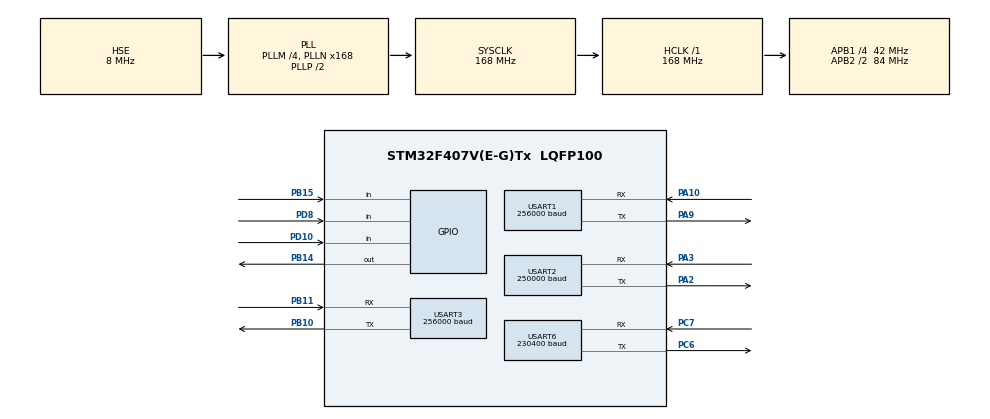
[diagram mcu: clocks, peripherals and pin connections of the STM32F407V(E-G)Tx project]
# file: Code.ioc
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Mcu.Family=STM32F4
Mcu.Name=STM32F407V(E-G)Tx
Mcu.Package=LQFP100
NVIC.PriorityGroup=NVIC_PRIORITYGROUP_2
NVIC.USART1_IRQn=true\:2\:2\:true\:false\:true\:true\:true\:true
NVIC.USART3_IRQn=true\:0\:0\:false\:false\:true\:true\:true\:true
NVIC.USART6_IRQn=true\:1\:1\:true\:false\:true\:true\:true\:true
PA10.Mode=Asynchronous
PA10.Signal=USART1_RX
PA13.Mode=Serial_Wire
PA13.Signal=SYS_JTMS-SWDIO
PA14.Mode=Serial_Wire
PA14.Signal=SYS_JTCK-SWCLK
PA2.Mode=Asynchronous
PA2.Signal=USART2_TX
PA3.Mode=Asynchronous
PA3.Signal=USART2_RX
PA9.Mode=Asynchronous
PA9.Signal=USART1_TX
PB10.Mode=Asynchronous
PB10.Signal=USART3_TX
PB11.Mode=Asynchronous
PB11.Signal=USART3_RX
PB14.GPIO_ModeDefaultOutputPP=GPIO_MODE_OUTPUT_PP
PB14.Signal=GPIO_Output
PB15.GPIO_PuPd=GPIO_PULLUP
PB15.Signal=GPIO_Input
PC6.Mode=Asynchronous
PC6.Signal=USART6_TX
PC7.Mode=Asynchronous
PC7.Signal=USART6_RX
PD10.GPIO_PuPd=GPIO_PULLUP
PD10.Signal=GPIO_Input
PD8.GPIO_PuPd=GPIO_PULLUP
PD8.Signal=GPIO_Input
PH0-OSC_IN.Mode=HSE-External-Oscillator
PH0-OSC_IN.Signal=RCC_OSC_IN
PH1-OSC_OUT.Mode=HSE-External-Oscillator
PH1-OSC_OUT.Signal=RCC_OSC_OUT
ProjectManager.HeapSize=0x200
ProjectManager.StackSize=0x400
ProjectManager.TargetToolchain=CMake
RCC.48MHZClocksFreq_Value=84000000
RCC.AHBFreq_Value=168000000
RCC.APB1CLKDivider=RCC_HCLK_DIV4
RCC.APB1Freq_Value=42000000
RCC.APB1TimFreq_Value=84000000
RCC.APB2CLKDivider=RCC_HCLK_DIV2
RCC.APB2Freq_Value=84000000
RCC.APB2TimFreq_Value=168000000
RCC.CortexFreq_Value=168000000
RCC.HCLKFreq_Value=168000000
RCC.HSE_VALUE=8000000
RCC.HSI_VALUE=16000000
RCC.LSE_VALUE=32768
RCC.PLLM=4
RCC.PLLN=168
RCC.PLLSourceVirtual=RCC_PLLSOURCE_HSE
RCC.SYSCLKFreq_VALUE=168000000
RCC.SYSCLKSource=RCC_SYSCLKSOURCE_PLLCLK
RCC.VCOOutputFreq_Value=336000000
TIM2.Period=167
TIM2.Prescaler=999
USART1.BaudRate=256000
USART1.VirtualMode=VM_ASYNC
USART2.BaudRate=250000
USART2.VirtualMode=VM_ASYNC
USART3.BaudRate=256000
USART3.VirtualMode=VM_ASYNC
USART6.BaudRate=230400
USART6.VirtualMode=VM_ASYNC
VP_TIM2_VS_ClockSourceINT.Mode=Internal
board=custom

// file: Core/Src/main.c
/* USER CODE BEGIN Header */
/**
  ******************************************************************************
  * @file           : main.c
  * @brief          : Main program body
  ******************************************************************************
  * @attention
  *
  * Copyright (c) 2026 STMicroelectronics.
  * All rights reserved.
  *
  * This software is licensed under terms that can be found in the LICENSE file
  * in the root directory of this software component.
  * If no LICENSE file comes with this software, it is provided AS-IS.
  *
  ******************************************************************************
  */
/* USER CODE END Header */
#include "main.h"

/* USER CODE BEGIN Includes */
#include "Laser.h"
#include "OLED.h"
#include "REG.h"
#include "StepMotor.h"
#include "Key.h"
#include "Motor.h"
#include "menu.h"
#include "laser.h"
#include "Title.h"
#include "gyroscope.h"
#include "wit_c_sdk.h"

#include "stm32f4xx_hal.h"
#include "stm32f4xx_hal_uart.h"
#include <stdint.h>
/* USER CODE END Includes */

/* USER CODE BEGIN PTD */
StepMotor_Driver *StepMotor;

Motor_Driver *PanMotor;

Menu menu_instance;
Menu *menu = &menu_instance;

title_Driver *title;
FloatConvert conv;

GyroData_t gyroData_instance;
GyroData_t *pGyroData=&gyroData_instance;

uint8_t keynum=0;
uint8_t ch=0;
/* USER CODE END PTD */

TIM_HandleTypeDef htim2;

UART_HandleTypeDef huart1;
UART_HandleTypeDef huart2;
UART_HandleTypeDef huart3;
UART_HandleTypeDef huart6;

void SystemClock_Config(void);
static void MX_GPIO_Init(void);
static void MX_USART1_UART_Init(void);
static void MX_USART2_UART_Init(void);
static void MX_TIM2_Init(void);
static void MX_USART3_UART_Init(void);
static void MX_USART6_UART_Init(void);
/* USER CODE BEGIN PFP */
//坐标数据

//TODO 串口中断
void HAL_UART_RxCpltCallback(UART_HandleTypeDef *huart)
{
  if(huart==&huart3)
  {
    title->var.uart_flag=1; // 置位串口标志，主循环里会检测到并处理视觉数据
    //TODO 数据处理
    title->fun->Data_receive(title);
    HAL_UART_Receive_IT(&huart3, &title->var.rx_byte, 1);  // 只在USART3里重开
  }
  else if(huart==&huart6)
  {
    WitSerialDataIn(ch);
    HAL_UART_Receive_IT(&huart6, &ch, 1);
  }
  else if(huart==&huart1)
  {
    if(title->var.car_rx_buffer[0] == 0xD8 && title->var.car_rx_buffer[5] == 0x8D)
      {
        // 把 4 个字节 还原成 float
        memcpy(&title->xy.V_ff, &title->var.car_rx_buffer[1], sizeof(float));
      }
    HAL_UART_Receive_IT(&huart1, title->var.car_rx_buffer, 6);
  }

}

//TODO 定时器中断
void HAL_TIM_PeriodElapsedCallback(TIM_HandleTypeDef *htim)
{
  if (htim->Instance == TIM2) // 检查是否是TIM2的中断
  {
    title->var.tim_flag=1; // 置位定时器标志，主循环里会检测到并进行位置控制计算
  }
}

/* USER CODE END PFP */

int main(void)
{

  /* USER CODE BEGIN 1 */
  StepMotor=StepMotor_Create(&huart1,0x01);
  PanMotor=Motor_Create(0x01,2550,1900,2200);
  title=Titile_Create();

  if(StepMotor == NULL || PanMotor == NULL || title == NULL) {
    while(1) {
        for(volatile int i=0; i<10000; i++); // 预先加入软延时，避免紧凑死循环卡死SWD仿真器
    }
  }
  /* USER CODE END 1 */

  /* MCU Configuration--------------------------------------------------------*/

  /* Reset of all peripherals, Initializes the Flash interface and the Systick. */
  HAL_Init();

  /* Configure the system clock */
  SystemClock_Config();

  /* Initialize all configured peripherals */
  MX_GPIO_Init();
  MX_USART1_UART_Init();
  MX_USART2_UART_Init();
  MX_TIM2_Init();
  MX_USART3_UART_Init();
  MX_USART6_UART_Init();
  /* USER CODE BEGIN 2 */
  /*初始化所有已配置的外围设备*/
  title->fun->Init(title); // 初始化题目驱动，传入title实例地址以供题目驱动访问和修改数据
  StepMotor->fun->Init(StepMotor);
  StepMotor->fun->Stop(StepMotor); // 初始化时先停止电机，确保安全
  PanMotor->fun->Motor_Init(PanMotor);
  PanMotor->fun->Motor_Move(PanMotor,0); // 初始化时先将PanMotor移动到中位位置，确保安全

  gyroscope_Init(pGyroData); // 初始化陀螺仪，传入pGyroData实例地址以供陀螺仪模块访问和更新数据

  //菜单初始化
  Menu_Init(menu, title); // 初始化菜单，传入title实例本身以供菜单访问和修改
  Menu_Switch(menu,1);

  //激光初始化
  Laser_Init();  // 初始化激光模块，默认关闭激光
  Laser_On();  // 打开激光，确保激光在系统启动时就处于工作状态

  // 定义按键数组，包含3个按键的GPIO端口和引脚号
  KEY_Driver key[3] = {
    Key_Create(GPIOD, GPIO_PIN_8),
    Key_Create(GPIOB, GPIO_PIN_15),
    Key_Create(GPIOD, GPIO_PIN_10)
  };
  /* USER CODE END 2 */

  /* Infinite loop */
  /* USER CODE BEGIN WHILE */
  //打开串口中断，准备接收数据
  HAL_Delay(500); // 延时等待视觉那边上电并准备好发送数据，避免刚开串口中断就接收到无效数据导致程序异常
  HAL_UART_Receive_IT(&huart3, &title->var.rx_byte, 1);
  HAL_UART_Receive_IT(&huart6, &ch, 1);
  HAL_UART_Receive_IT(&huart1, &title->var.number, 1);

  //等待小车指令
  OLED_Clear();
  OLED_ShowString(0, 0, "Waiting for car", OLED_8X16);
  OLED_Update();
  while(title->var.number==0);
  if(title->var.number==0xA5) StepMotor->fun->Move(StepMotor,100);  //先转向找到框，再等待视觉数据，最后再转回中位
  else if(title->var.number==0x5A) StepMotor->fun->Move(StepMotor,-100);  //先转向找到框，再等待视觉数据，最后再转回中位
  HAL_UART_Receive_IT(&huart1, title->var.car_rx_buffer, 6);

  //告诉视觉我们已经准备好
  OLED_Clear();
  OLED_ShowString(0, 0, "sending 0xFF", OLED_8X16);
  OLED_Update();
  uint8_t ready_signal = 0xFF;
  do
  {
    HAL_UART_Transmit(&huart3, &ready_signal, 1, 20);
    HAL_Delay(500);
  }while(title->var.mode_next==0); // 等待视觉那边发送数据，通知视觉已经准备好接收数据了

  while (1)
  {
    /* USER CODE END WHILE */

    /* USER CODE BEGIN 3 */
    //TODO while循环

    //PARAMETER PID设置
    //进行pid切换以及发送切换模式数据给视觉
    if(title->var.mode==0&&title->var.mode_next==1)
    {
      title->var.mode=1;
      //框坐标pid
      title->fun->X_PIDSET(title,0.6,0,0);
      //陀螺仪pid
      pGyroData->fun->PID_SET(&pGyroData->pid,0,0,1.0);
      //云台pid
      PanMotor->fun->PID_SET(PanMotor,0.1,0,0);
    }
    else if(title->var.mode==1&&title->var.mode_next==2)
    {
      title->var.mode=2;
      //框坐标pid
      title->fun->X_PIDSET(title,0.6,0,0.1);
      //陀螺仪pid
      pGyroData->fun->PID_SET(&pGyroData->pid,0,0,1.0);
      //云台pid
      PanMotor->fun->PID_SET(PanMotor,0.1,0,0);
    }

    //主程序
    //收到串口的标志位，专门处理数据，对数据进行补偿或者pid拉伸
    if(pGyroData->Gyro_Updata_Flag==1)
    {
      pGyroData->Gyro_Updata_Flag=0;
      GetAttitudeData();
      pGyroData->fun->OUT(pGyroData,0);
    }
    if(title->var.uart_flag==1)
    {
      title->var.uart_flag=0;
      //根据不同的mode对x,y进行不同的补偿
      //框坐标+补偿
      if(title->var.mode==1)
      {
        //PARAMETER 坐标处理
        title->fun->Laser_offset(title); // 进行激光补偿计算，更新title实例中的相关数据，以供后续位置控制计算使用
        title->xy.x=title->xy.frame_x-30;
        title->xy.y=title->xy.frame_y;

        //判断是否打中框中心，发送标志位给视觉让视觉切换激光打靶
        title->fun->XYRead(title);
        if(title->var.ready==1)
        {
          title->var.Start_Flag[1]=0x02;
          Laser_On();  // 对准框之后启动激光
          HAL_UART_Transmit(&huart3,title->var.Start_Flag,3,20);  //切换模式数据发送给视觉，通知视觉切换到模式2（激光坐标+补偿）
        }
      }
      //激光坐标+补偿
      else if(title->var.mode==2)
      {
        title->xy.x=-title->xy.laser_x;
        title->xy.y=-title->xy.laser_y;
      }

      //TODO y坐标环
      //云台追踪+补偿环
      title->fun->X_PIDOUT(title); // 进行位置控制计算，更新title实例中的pid.out的值
      PanMotor->fun->MPID_OUT(PanMotor,title->xy.y); // 进行位置控制计算，并更新PanMotor的输出
      //TODO 电机驱动函数
      StepMotor->fun->Move(StepMotor,title->pid.out-pGyroData->pid.out+title->xy.V_ff); // 根据位置控制计算的输出，发送位置控制指令给StepMotor
      PanMotor->fun->Motor_Move(PanMotor,PanMotor->var.out); // 根据位置控制计算的输出，发送位置控制指令给PanMotor

    }
    //TODO 显示
      OLED_Clear();
      OLED_ShowFloatNum(0, 0, title->xy.x, 5,5, OLED_8X16);
      OLED_ShowFloatNum(0, 16, title->xy.V_ff, 5, 5, OLED_8X16);
      OLED_Update();
  }
  /* USER CODE END 3 */
}

void SystemClock_Config(void)
{
  RCC_OscInitTypeDef RCC_OscInitStruct = {0};
  RCC_ClkInitTypeDef RCC_ClkInitStruct = {0};

  /** Configure the main internal regulator output voltage
  */
  __HAL_RCC_PWR_CLK_ENABLE();
  __HAL_PWR_VOLTAGESCALING_CONFIG(PWR_REGULATOR_VOLTAGE_SCALE1);

  /** Initializes the RCC Oscillators according to the specified parameters
  * in the RCC_OscInitTypeDef structure.
  */
  RCC_OscInitStruct.OscillatorType = RCC_OSCILLATORTYPE_HSE;
  RCC_OscInitStruct.HSEState = RCC_HSE_ON;
  RCC_OscInitStruct.PLL.PLLState = RCC_PLL_ON;
  RCC_OscInitStruct.PLL.PLLSource = RCC_PLLSOURCE_HSE;
  RCC_OscInitStruct.PLL.PLLM = 4;
  RCC_OscInitStruct.PLL.PLLN = 168;
  RCC_OscInitStruct.PLL.PLLP = RCC_PLLP_DIV2;
  RCC_OscInitStruct.PLL.PLLQ = 4;
  if (HAL_RCC_OscConfig(&RCC_OscInitStruct) != HAL_OK)
  {
    Error_Handler();
  }

  /** Initializes the CPU, AHB and APB buses clocks
  */
  RCC_ClkInitStruct.ClockType = RCC_CLOCKTYPE_HCLK|RCC_CLOCKTYPE_SYSCLK
                              |RCC_CLOCKTYPE_PCLK1|RCC_CLOCKTYPE_PCLK2;
  RCC_ClkInitStruct.SYSCLKSource = RCC_SYSCLKSOURCE_PLLCLK;
  RCC_ClkInitStruct.AHBCLKDivider = RCC_SYSCLK_DIV1;
  RCC_ClkInitStruct.APB1CLKDivider = RCC_HCLK_DIV4;
  RCC_ClkInitStruct.APB2CLKDivider = RCC_HCLK_DIV2;

  if (HAL_RCC_ClockConfig(&RCC_ClkInitStruct, FLASH_LATENCY_5) != HAL_OK)
  {
    Error_Handler();
  }
}

static void MX_TIM2_Init(void)
{

  TIM_ClockConfigTypeDef sClockSourceConfig = {0};
  TIM_MasterConfigTypeDef sMasterConfig = {0};

  htim2.Instance = TIM2;
  htim2.Init.Prescaler = 999;
  htim2.Init.CounterMode = TIM_COUNTERMODE_UP;
  htim2.Init.Period = 167;
  htim2.Init.ClockDivision = TIM_CLOCKDIVISION_DIV1;
  htim2.Init.AutoReloadPreload = TIM_AUTORELOAD_PRELOAD_DISABLE;
  if (HAL_TIM_Base_Init(&htim2) != HAL_OK)
  {
    Error_Handler();
  }
  sClockSourceConfig.ClockSource = TIM_CLOCKSOURCE_INTERNAL;
  if (HAL_TIM_ConfigClockSource(&htim2, &sClockSourceConfig) != HAL_OK)
  {
    Error_Handler();
  }
  sMasterConfig.MasterOutputTrigger = TIM_TRGO_RESET;
  sMasterConfig.MasterSlaveMode = TIM_MASTERSLAVEMODE_DISABLE;
  if (HAL_TIMEx_MasterConfigSynchronization(&htim2, &sMasterConfig) != HAL_OK)
  {
    Error_Handler();
  }

}

static void MX_USART1_UART_Init(void)
{

  huart1.Instance = USART1;
  huart1.Init.BaudRate = 256000;
  huart1.Init.WordLength = UART_WORDLENGTH_8B;
  huart1.Init.StopBits = UART_STOPBITS_1;
  huart1.Init.Parity = UART_PARITY_NONE;
  huart1.Init.Mode = UART_MODE_TX_RX;
  huart1.Init.HwFlowCtl = UART_HWCONTROL_NONE;
  huart1.Init.OverSampling = UART_OVERSAMPLING_16;
  if (HAL_UART_Init(&huart1) != HAL_OK)
  {
    Error_Handler();
  }

}

static void MX_USART2_UART_Init(void)
{

  huart2.Instance = USART2;
  huart2.Init.BaudRate = 250000;
  huart2.Init.WordLength = UART_WORDLENGTH_8B;
  huart2.Init.StopBits = UART_STOPBITS_1;
  huart2.Init.Parity = UART_PARITY_NONE;
  huart2.Init.Mode = UART_MODE_TX_RX;
  huart2.Init.HwFlowCtl = UART_HWCONTROL_NONE;
  huart2.Init.OverSampling = UART_OVERSAMPLING_16;
  if (HAL_UART_Init(&huart2) != HAL_OK)
  {
    Error_Handler();
  }

}

static void MX_USART3_UART_Init(void)
{

  huart3.Instance = USART3;
  huart3.Init.BaudRate = 256000;
  huart3.Init.WordLength = UART_WORDLENGTH_8B;
  huart3.Init.StopBits = UART_STOPBITS_1;
  huart3.Init.Parity = UART_PARITY_NONE;
  huart3.Init.Mode = UART_MODE_TX_RX;
  huart3.Init.HwFlowCtl = UART_HWCONTROL_NONE;
  huart3.Init.OverSampling = UART_OVERSAMPLING_16;
  if (HAL_UART_Init(&huart3) != HAL_OK)
  {
    Error_Handler();
  }

}

static void MX_USART6_UART_Init(void)
{

  huart6.Instance = USART6;
  huart6.Init.BaudRate = 230400;
  huart6.Init.WordLength = UART_WORDLENGTH_8B;
  huart6.Init.StopBits = UART_STOPBITS_1;
  huart6.Init.Parity = UART_PARITY_NONE;
  huart6.Init.Mode = UART_MODE_TX_RX;
  huart6.Init.HwFlowCtl = UART_HWCONTROL_NONE;
  huart6.Init.OverSampling = UART_OVERSAMPLING_16;
  if (HAL_UART_Init(&huart6) != HAL_OK)
  {
    Error_Handler();
  }

}

static void MX_GPIO_Init(void)
{
  GPIO_InitTypeDef GPIO_InitStruct = {0};

  /* GPIO Ports Clock Enable */
  __HAL_RCC_GPIOH_CLK_ENABLE();
  __HAL_RCC_GPIOA_CLK_ENABLE();
  __HAL_RCC_GPIOB_CLK_ENABLE();
  __HAL_RCC_GPIOD_CLK_ENABLE();
  __HAL_RCC_GPIOC_CLK_ENABLE();

  /*Configure GPIO pin Output Level */
  HAL_GPIO_WritePin(GPIOB, GPIO_PIN_14, GPIO_PIN_RESET);

  /*Configure GPIO pin : PB14 */
  GPIO_InitStruct.Pin = GPIO_PIN_14;
  GPIO_InitStruct.Mode = GPIO_MODE_OUTPUT_PP;
  GPIO_InitStruct.Pull = GPIO_NOPULL;
  GPIO_InitStruct.Speed = GPIO_SPEED_FREQ_LOW;
  HAL_GPIO_Init(GPIOB, &GPIO_InitStruct);

  /*Configure GPIO pin : PB15 */
  GPIO_InitStruct.Pin = GPIO_PIN_15;
  GPIO_InitStruct.Mode = GPIO_MODE_INPUT;
  GPIO_InitStruct.Pull = GPIO_PULLUP;
  HAL_GPIO_Init(GPIOB, &GPIO_InitStruct);

  /*Configure GPIO pins : PD8 PD10 */
  GPIO_InitStruct.Pin = GPIO_PIN_8|GPIO_PIN_10;
  GPIO_InitStruct.Mode = GPIO_MODE_INPUT;
  GPIO_InitStruct.Pull = GPIO_PULLUP;
  HAL_GPIO_Init(GPIOD, &GPIO_InitStruct);

}

void Error_Handler(void)
{
  /* USER CODE BEGIN Error_Handler_Debug */
  /* User can add his own implementation to report the HAL error return state */
  // __disable_irq(); // 屏蔽掉，防止由于时钟配置失败直接死锁导致ST-Link连不上
  while (1)
  {
  }
  /* USER CODE END Error_Handler_Debug */
}
